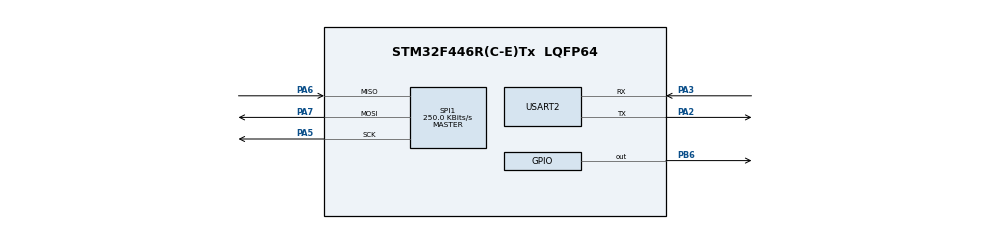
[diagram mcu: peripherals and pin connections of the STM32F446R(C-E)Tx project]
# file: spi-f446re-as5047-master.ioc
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Mcu.Family=STM32F4
Mcu.Name=STM32F446R(C-E)Tx
Mcu.Package=LQFP64
NVIC.PriorityGroup=NVIC_PRIORITYGROUP_4
PA2.Mode=Asynchronous
PA2.Signal=USART2_TX
PA3.Mode=Asynchronous
PA3.Signal=USART2_RX
PA5.Mode=Full_Duplex_Master
PA5.Signal=SPI1_SCK
PA6.Mode=Full_Duplex_Master
PA6.Signal=SPI1_MISO
PA7.Mode=Full_Duplex_Master
PA7.Signal=SPI1_MOSI
PB6.Signal=GPIO_Output
ProjectManager.HeapSize=0x200
ProjectManager.StackSize=0x400
ProjectManager.TargetToolchain=STM32CubeIDE
RCC.CortexFreq_Value=16000000
RCC.USBFreq_Value=96000000
RCC.VCOOutputFreq_Value=192000000
SPI1.BaudRatePrescaler=SPI_BAUDRATEPRESCALER_64
SPI1.CalculateBaudRate=250.0 KBits/s
SPI1.DataSize=SPI_DATASIZE_16BIT
SPI1.Direction=SPI_DIRECTION_2LINES
SPI1.Mode=SPI_MODE_MASTER
SPI1.VirtualType=VM_MASTER
USART2.VirtualMode=VM_ASYNC
board=custom

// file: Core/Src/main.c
/* USER CODE BEGIN Header */
/**
  ******************************************************************************
  * @file           : main.c
  * @brief          : Main program body
  ******************************************************************************
  * @attention
  *
  * <h2><center>&copy; Copyright (c) 2021 STMicroelectronics.
  * All rights reserved.</center></h2>
  *
  * This software component is licensed by ST under BSD 3-Clause license,
  * the "License"; You may not use this file except in compliance with the
  * License. You may obtain a copy of the License at:
  *                        opensource.org/licenses/BSD-3-Clause
  *
  ******************************************************************************
  */
/* USER CODE END Header */
#include "main.h"

/* USER CODE BEGIN Includes */
#include <stdio.h>
/* USER CODE END Includes */

SPI_HandleTypeDef hspi1;

UART_HandleTypeDef huart2;

/* USER CODE BEGIN PV */
#define OP_READ  0x4000
#define PARITY_EVEN 0x0000
#define PARITY_ODD  0x8000
#define ADDR_NOP 0x0000
#define ADDR_ERRFL 0x0001
#define ADDR_ANGLECOM     0x3FFF
#define CMD_R_ANGLECOM  (PARITY_ODD  | OP_READ | ADDR_ANGLECOM)
#define CMD_R_NOP       (PARITY_ODD  | OP_READ | ADDR_NOP)
#define CMD_R_ERRFL     (PARITY_EVEN | OP_READ | ADDR_ERRFL)
#define csPin GPIO_PIN_6 // pin 9 is used for selecting the first encoder
uint16_t x;
/* USER CODE END PV */

void SystemClock_Config(void);
static void MX_GPIO_Init(void);
static void MX_SPI1_Init(void);
static void MX_USART2_UART_Init(void);

int main(void)
{
  /* USER CODE BEGIN 1 */
	uint16_t uart_buf[50];
	int uart_buf_len;
	uint16_t spi_data[2];
	spi_data[0] = 0; //0 to send
	spi_data[1] = 0;	//1 to receive
  /* USER CODE END 1 */

  /* MCU Configuration--------------------------------------------------------*/

  /* Reset of all peripherals, Initializes the Flash interface and the Systick. */
  HAL_Init();

  /* Configure the system clock */
  SystemClock_Config();

  /* Initialize all configured peripherals */
  MX_GPIO_Init();
  MX_SPI1_Init();
  MX_USART2_UART_Init();
  /* USER CODE BEGIN 2 */
  HAL_GPIO_WritePin(GPIOB, GPIO_PIN_6, GPIO_PIN_SET);
  /* USER CODE END 2 */

   spi_data[0] = 0x0001;
   HAL_GPIO_WritePin(GPIOB, GPIO_PIN_6, GPIO_PIN_RESET);
   HAL_SPI_TransmitReceive(&hspi1, spi_data, &spi_data[1], 2, 100);
   HAL_GPIO_WritePin(GPIOB, GPIO_PIN_6, GPIO_PIN_SET);
   uart_buf_len = sprintf(uart_buf, "%d\r\n", (unsigned int)spi_data[1]);
   HAL_UART_Transmit(&huart2, (uint8_t*)uart_buf, uart_buf_len, 100);

   spi_data[0] = 0x0007;
   spi_data[1] = 0;
   HAL_GPIO_WritePin(GPIOB, GPIO_PIN_6, GPIO_PIN_RESET);
   HAL_SPI_TransmitReceive(&hspi1, spi_data, &spi_data[1], 2, 100);
   HAL_GPIO_WritePin(GPIOB, GPIO_PIN_6, GPIO_PIN_SET);
   uart_buf_len = sprintf(uart_buf, "%d\r\n", (unsigned int)spi_data[1]);
   HAL_UART_Transmit(&huart2, (uint8_t*)uart_buf, uart_buf_len, 100);

   spi_data[0] = CMD_R_ERRFL;
   spi_data[1] = 0;
   HAL_GPIO_WritePin(GPIOB, GPIO_PIN_6, GPIO_PIN_RESET);
   HAL_SPI_TransmitReceive(&hspi1, spi_data, &spi_data[1], 2, 100);
   HAL_GPIO_WritePin(GPIOB, GPIO_PIN_6, GPIO_PIN_SET);
   uart_buf_len = sprintf(uart_buf, "%d\r\n", (unsigned int)spi_data[1]);
   HAL_UART_Transmit(&huart2, (uint8_t*)uart_buf, uart_buf_len, 100);

   spi_data[0] = CMD_R_NOP;
   spi_data[1] = 0;
   HAL_GPIO_WritePin(GPIOB, GPIO_PIN_6, GPIO_PIN_RESET);
   HAL_SPI_TransmitReceive(&hspi1, spi_data, &spi_data[1], 2, 100);
   HAL_GPIO_WritePin(GPIOB, GPIO_PIN_6, GPIO_PIN_SET);
   uart_buf_len = sprintf(uart_buf, "%d\r\n", (unsigned int)spi_data[1]);
   HAL_UART_Transmit(&huart2, (uint8_t*)uart_buf, uart_buf_len, 100);

  /* Infinite loop */
  while (1)
  {
	 spi_data[0] = CMD_R_ANGLECOM;
	 spi_data[1] = 0;
	 HAL_GPIO_WritePin(GPIOB, GPIO_PIN_6, GPIO_PIN_RESET);
	 HAL_SPI_TransmitReceive(&hspi1, spi_data, &spi_data[1], 2, 100);
	 HAL_GPIO_WritePin(GPIOB, GPIO_PIN_6, GPIO_PIN_SET);
	 uart_buf_len = sprintf(uart_buf, "%d\r\n", (unsigned int)spi_data[1]);
	 HAL_UART_Transmit(&huart2, (uint8_t*)uart_buf, uart_buf_len, 100);

	 spi_data[0] = CMD_R_NOP;
	 spi_data[1] = 0;
	 HAL_GPIO_WritePin(GPIOB, GPIO_PIN_6, GPIO_PIN_RESET);
	 HAL_SPI_TransmitReceive(&hspi1, spi_data, &spi_data[1], 2, 100);
	 HAL_GPIO_WritePin(GPIOB, GPIO_PIN_6, GPIO_PIN_SET);

	 x = spi_data[1];
	 x &= ~(1UL << 15);
	 x &= ~(1UL << 14);
	 float angle = (x / 16384.0) * 360.0;

	 uart_buf_len = sprintf(uart_buf, "Angle = ");
	 HAL_UART_Transmit(&huart2, (uint8_t*)uart_buf, uart_buf_len, 100);
	 uart_buf_len = sprintf(uart_buf, "%0.2f\r\n", angle);
	 HAL_UART_Transmit(&huart2, (uint8_t*)uart_buf, uart_buf_len, 100);

	 HAL_Delay(100);
  }
}

void SystemClock_Config(void)
{
  RCC_OscInitTypeDef RCC_OscInitStruct = {0};
  RCC_ClkInitTypeDef RCC_ClkInitStruct = {0};

  /** Configure the main internal regulator output voltage
  */
  __HAL_RCC_PWR_CLK_ENABLE();
  __HAL_PWR_VOLTAGESCALING_CONFIG(PWR_REGULATOR_VOLTAGE_SCALE3);
  /** Initializes the RCC Oscillators according to the specified parameters
  * in the RCC_OscInitTypeDef structure.
  */
  RCC_OscInitStruct.OscillatorType = RCC_OSCILLATORTYPE_HSI;
  RCC_OscInitStruct.HSIState = RCC_HSI_ON;
  RCC_OscInitStruct.HSICalibrationValue = RCC_HSICALIBRATION_DEFAULT;
  RCC_OscInitStruct.PLL.PLLState = RCC_PLL_NONE;
  if (HAL_RCC_OscConfig(&RCC_OscInitStruct) != HAL_OK)
  {
    Error_Handler();
  }
  /** Initializes the CPU, AHB and APB buses clocks
  */
  RCC_ClkInitStruct.ClockType = RCC_CLOCKTYPE_HCLK|RCC_CLOCKTYPE_SYSCLK
                              |RCC_CLOCKTYPE_PCLK1|RCC_CLOCKTYPE_PCLK2;
  RCC_ClkInitStruct.SYSCLKSource = RCC_SYSCLKSOURCE_HSI;
  RCC_ClkInitStruct.AHBCLKDivider = RCC_SYSCLK_DIV1;
  RCC_ClkInitStruct.APB1CLKDivider = RCC_HCLK_DIV1;
  RCC_ClkInitStruct.APB2CLKDivider = RCC_HCLK_DIV1;

  if (HAL_RCC_ClockConfig(&RCC_ClkInitStruct, FLASH_LATENCY_0) != HAL_OK)
  {
    Error_Handler();
  }
}

static void MX_SPI1_Init(void)
{

  /* SPI1 parameter configuration*/
  hspi1.Instance = SPI1;
  hspi1.Init.Mode = SPI_MODE_MASTER;
  hspi1.Init.Direction = SPI_DIRECTION_2LINES;
  hspi1.Init.DataSize = SPI_DATASIZE_16BIT;
  hspi1.Init.CLKPolarity = SPI_POLARITY_LOW;
  hspi1.Init.CLKPhase = SPI_PHASE_1EDGE;
  hspi1.Init.NSS = SPI_NSS_SOFT;
  hspi1.Init.BaudRatePrescaler = SPI_BAUDRATEPRESCALER_64;
  hspi1.Init.FirstBit = SPI_FIRSTBIT_MSB;
  hspi1.Init.TIMode = SPI_TIMODE_DISABLE;
  hspi1.Init.CRCCalculation = SPI_CRCCALCULATION_DISABLE;
  hspi1.Init.CRCPolynomial = 10;
  if (HAL_SPI_Init(&hspi1) != HAL_OK)
  {
    Error_Handler();
  }

}

static void MX_USART2_UART_Init(void)
{

  huart2.Instance = USART2;
  huart2.Init.BaudRate = 115200;
  huart2.Init.WordLength = UART_WORDLENGTH_8B;
  huart2.Init.StopBits = UART_STOPBITS_1;
  huart2.Init.Parity = UART_PARITY_NONE;
  huart2.Init.Mode = UART_MODE_TX_RX;
  huart2.Init.HwFlowCtl = UART_HWCONTROL_NONE;
  huart2.Init.OverSampling = UART_OVERSAMPLING_16;
  if (HAL_UART_Init(&huart2) != HAL_OK)
  {
    Error_Handler();
  }

}

static void MX_GPIO_Init(void)
{
  GPIO_InitTypeDef GPIO_InitStruct = {0};

  /* GPIO Ports Clock Enable */
  __HAL_RCC_GPIOA_CLK_ENABLE();
  __HAL_RCC_GPIOB_CLK_ENABLE();

  /*Configure GPIO pin Output Level */
  HAL_GPIO_WritePin(GPIOB, GPIO_PIN_6, GPIO_PIN_RESET);

  /*Configure GPIO pin : PB6 */
  GPIO_InitStruct.Pin = GPIO_PIN_6;
  GPIO_InitStruct.Mode = GPIO_MODE_OUTPUT_PP;
  GPIO_InitStruct.Pull = GPIO_NOPULL;
  GPIO_InitStruct.Speed = GPIO_SPEED_FREQ_LOW;
  HAL_GPIO_Init(GPIOB, &GPIO_InitStruct);

}

void Error_Handler(void)
{
  __disable_irq();
  while (1)
  {
  }
}

/************************ (C) COPYRIGHT STMicroelectronics *****END OF FILE****/
